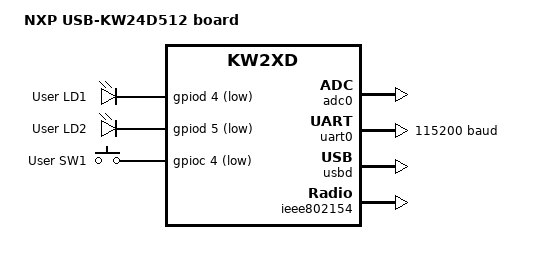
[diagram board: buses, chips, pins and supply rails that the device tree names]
/* SPDX-License-Identifier: Apache-2.0 */

/dts-v1/;

#include <nxp/nxp_kw2xd.dtsi>
#include "usb_kw24d512-pinctrl.dtsi"
#include <zephyr/dt-bindings/input/input-event-codes.h>

/ {
	model = "NXP USB-KW24D512 board";
	compatible = "nxp,usb-kw24d512", "nxp,kw24d512", "nxp,kw2xd";

	aliases {
		led0 = &led_0;
		led1 = &led_1;
		sw0 = &user_button_1;
	};

	chosen {
		zephyr,sram = &sram0;
		zephyr,flash = &flash0;
		zephyr,console = &uart0;
		zephyr,shell-uart = &uart0;
		zephyr,uart-pipe = &uart0;
		zephyr,ieee802154 = &ieee802154;
	};

	leds {
		compatible = "gpio-leds";
		led_0: led_0 {
			gpios = <&gpiod 4 GPIO_ACTIVE_LOW>;
			label = "User LD1";
		};
		led_1: led_1 {
			gpios = <&gpiod 5 GPIO_ACTIVE_LOW>;
			label = "User LD2";
		};
	};

	gpio_keys {
		compatible = "gpio-keys";
		user_button_1: button_0 {
			label = "User SW1";
			gpios = <&gpioc 4 GPIO_ACTIVE_LOW>;
			zephyr,code = <INPUT_KEY_0>;
		};
	};
};

&sim {
	pllfll-select = <KINETIS_SIM_PLLFLLSEL_MCGPLLCLK>;
	er32k-select = <KINETIS_SIM_ER32KSEL_RTC>;
};

&cpu0 {
	clock-frequency = <48000000>;
};

&adc0 {
	status = "okay";
};

&uart0 {
	status = "okay";
	current-speed = <115200>;
	pinctrl-0 = <&uart0_default>;
	pinctrl-names = "default";
};

zephyr_udc0: &usbd {
	compatible = "nxp,kinetis-usbd";
	status = "okay";
	num-bidir-endpoints = <8>;
};

&gpioa {
	status = "okay";
};

&gpiob {
	status = "okay";
};

&gpioc {
	status = "okay";
};

&gpiod {
	status = "okay";
};

&gpioe {
	status = "okay";
};

&ieee802154 {
	status = "okay";
};

&flash0 {
	partitions {
		compatible = "fixed-partitions";
		#address-cells = <1>;
		#size-cells = <1>;
		slot0_partition: partition@0 {
			label = "image-0";
			reg = <0x00000000 0x00070000>;
		};
		storage_partition: partition@70000 {
			label = "storage";
			reg = <0x00070000 0x00010000>;
		};
	};
};
